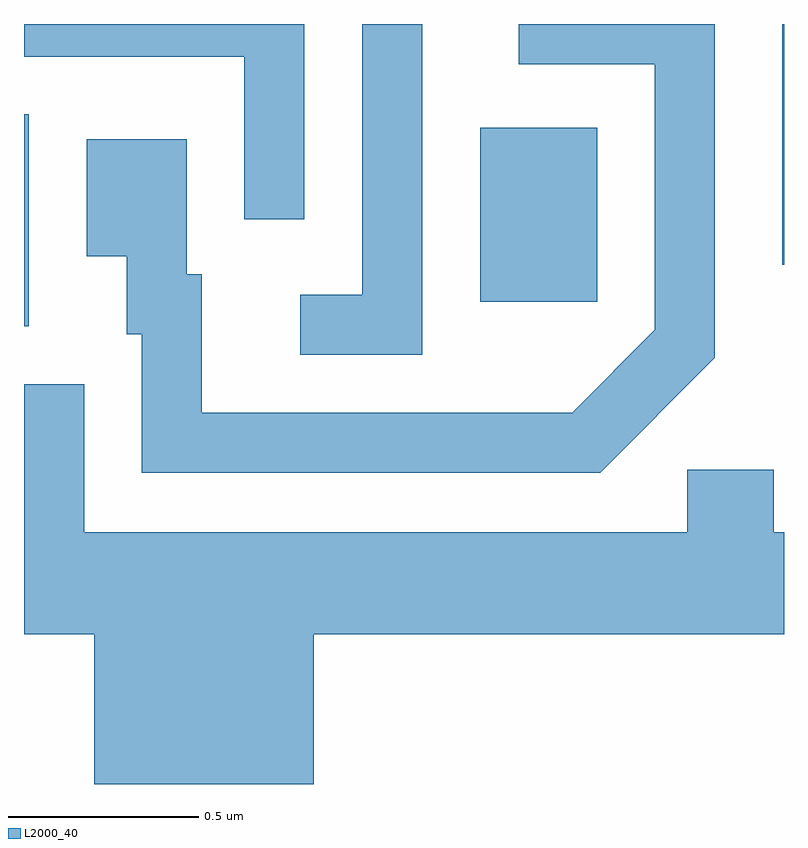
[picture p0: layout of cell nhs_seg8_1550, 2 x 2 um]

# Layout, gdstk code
import gdstk
lib = gdstk.Library(unit=1e-6, precision=1e-09)
def R(c, l, rs):  # rectangles x0, y0, x1, y1
    for r in rs: c.add(gdstk.rectangle(r[:2], r[2:], *l))
def P(c, l, *ps):  # polygons
    for p in ps: c.add(gdstk.Polygon(p, *l))
L2000_40 = (2000, 40)

nhs_seg8_1550 = lib.new_cell('nhs_seg8_1550')
R(nhs_seg8_1550, L2000_40, [(196.611,1850.546,196.624,1851.104), (197.811,1850.611,198.119,1851.069), (198.606,1850.708,198.611,1851.342)])
P(nhs_seg8_1550, L2000_40, [(198.429,1850.464),(198.429,1851.342),(197.913,1851.342),(197.913,1851.236),(198.271,1851.236),(198.271,1850.537),(198.054,1850.319),(197.079,1850.319),(197.079,1850.684),(197.039,1850.684),(197.039,1851.039),(196.776,1851.039),(196.776,1850.731),(196.881,1850.731),(196.881,1850.526),(196.921,1850.526),(196.921,1850.161),(198.127,1850.161)],
  [(197.349,1851.342),(196.611,1851.342),(196.611,1851.256),(197.191,1851.256),(197.191,1850.828),(197.349,1850.828)],
  [(197.659,1851.342),(197.501,1851.342),(197.501,1850.629),(197.338,1850.629),(197.338,1850.471),(197.659,1850.471)],
  [(197.374,1849.736),(198.611,1849.736),(198.611,1850.004),(198.584,1850.004),(198.584,1850.169),(198.356,1850.169),(198.356,1850.004),(196.769,1850.004),(196.769,1850.394),(196.611,1850.394),(196.611,1849.736),(196.796,1849.736),(196.796,1849.342),(197.374,1849.342)])

lib.write_gds('nhs_seg8_1550.gds')
